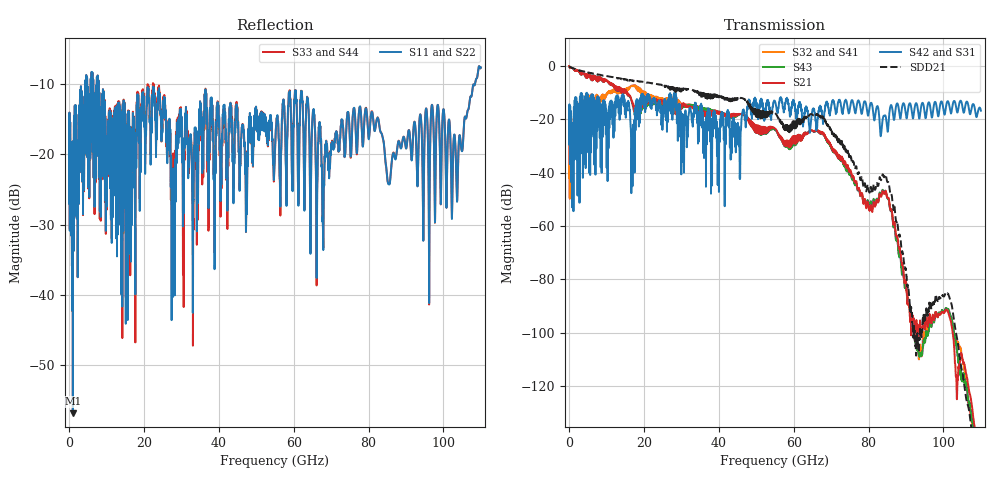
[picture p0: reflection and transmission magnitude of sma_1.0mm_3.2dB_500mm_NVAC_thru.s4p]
!4 port subset of full cascaded channels using these ports:3 1 4 2
# Hz S RI R 50
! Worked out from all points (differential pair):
!   11000 points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, 10 MHz to 110 GHz, reference 50 ohm
!   strongest paths, dB at 10 MHz, 27.51 GHz, 55.01 GHz, 82.51 GHz, 110 GHz:
!     S42: -29.4, -13.4, -13.4, -15.5, -16.8
!     S31: -29.4, -13.4, -13.4, -15.5, -16.8
!     S21: -0.2, -15.6, -23.5, -51.2, -
!     S43: -0.2, -15.6, -24.0, -50.8, -
!     S32: -41.9, -13.6, -23.7, -51.0, -
!     S41: -41.9, -13.6, -23.7, -51.1, -
!   taken as a pair (ports 1,3 in; 2,4 out), SDD21 dB: -0.1, -8.6, -17.7, -45.0, -
!   lowest |S11| = -56.9 dB at 1.01 GHz (marker M1), VSWR 1.00, Z = 50.1 + j0.0929 ohm
!   |S11| at or under -10 dB: start of sweep to 4.337 GHz; 4.845 GHz to 5.748 GHz (902.9 MHz wide, 17 % of centre); 7.888 GHz to 108.4 GHz (100.5 GHz wide, 173 % of centre) (the widest 3 of 11)
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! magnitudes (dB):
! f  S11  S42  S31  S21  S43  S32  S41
! 10 MHz  -27.0  -29.4  -29.4  -0.2  -0.2  -41.9  -41.9
! 1.01 GHz  -56.9  -25.8  -25.8  -1.0  -1.0  -22.6  -22.6
! 17.18 GHz  -19.6  -28.3  -28.3  -14.8  -15.4  -7.4  -7.4
! 66.46 GHz  -18.9  -19.4  -19.4  -24.3  -24.4  -24.4  -24.4
! 84.81 GHz  -22.3  -21.3  -21.3  -48.4  -48.5  -48.4  -48.4
! 89.88 GHz  -18.9  -17.5  -17.5  -81.3  -83.1  -81.2  -81.1
! 110 GHz  -7.6  -16.8  -16.8  -  -  -  -
